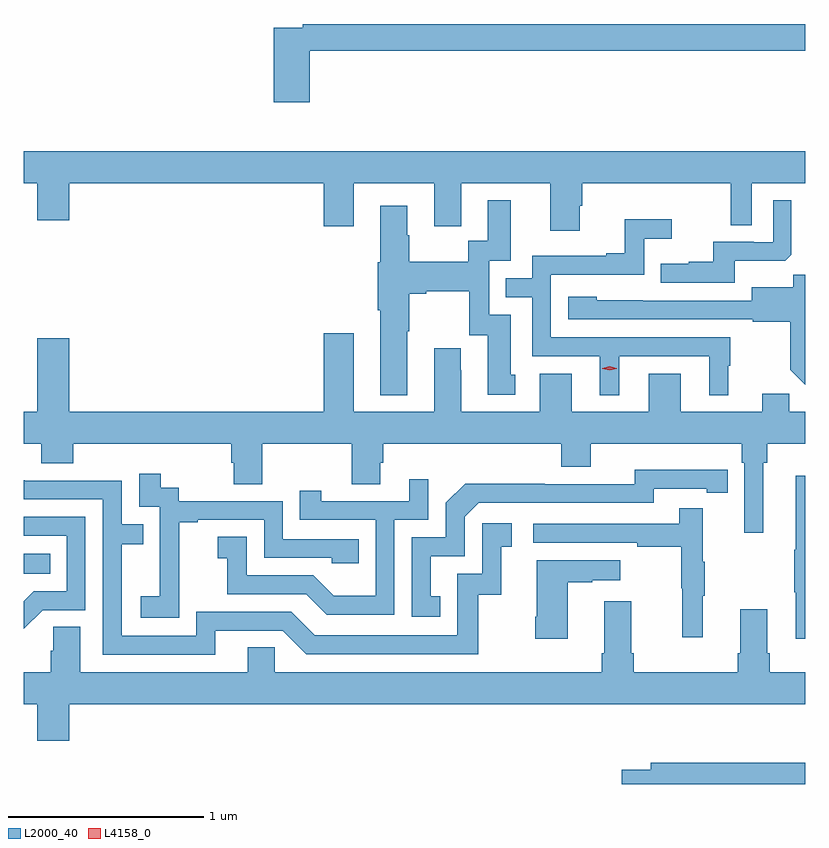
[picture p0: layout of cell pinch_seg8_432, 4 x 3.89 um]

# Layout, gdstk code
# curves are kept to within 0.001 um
import gdstk
lib = gdstk.Library(unit=1e-6, precision=1e-09)
def R(c, l, rs):  # rectangles x0, y0, x1, y1
    for r in rs: c.add(gdstk.rectangle(r[:2], r[2:], *l))
def P(c, l, *ps):  # polygons
    for p in ps: c.add(gdstk.Polygon(p, *l))
L2000_40 = (2000, 40)
L4158_0 = (4158, 0)

pinch_seg8_432 = lib.new_cell('pinch_seg8_432')
R(pinch_seg8_432, L2000_40, [(308.795,1129.154,308.93,1129.258)])
P(pinch_seg8_432, L2000_40, [(310.259,1131.832),(312.795,1131.832),(312.795,1131.968),(310.222,1131.968),(310.222,1131.948),(310.076,1131.948),(310.076,1131.567),(310.259,1131.567)],
  [(311.641,1131.039),(311.654,1131.039),(311.654,1131.152),(312.414,1131.152),(312.414,1130.938),(312.522,1130.938),(312.522,1131.152),(312.795,1131.152),(312.795,1131.316),(308.795,1131.316),(308.795,1131.152),(308.864,1131.152),(308.864,1130.964),(309.028,1130.964),(309.028,1131.152),(310.331,1131.152),(310.331,1130.934),(310.483,1130.934),(310.483,1131.152),(310.895,1131.152),(310.895,1130.934),(311.035,1130.934),(311.035,1131.152),(311.489,1131.152),(311.489,1130.91),(311.641,1130.91)],
  [(310.759,1130.395),(310.767,1130.395),(310.767,1130.588),(310.855,1130.588),(310.855,1130.6),(311.075,1130.6),(311.075,1130.376),(311.171,1130.376),(311.171,1130.07),(311.311,1130.07),(311.311,1130.172),(311.287,1130.172),(311.287,1130.481),(311.178,1130.481),(311.178,1130.757),(311.287,1130.757),(311.287,1131.067),(311.171,1131.067),(311.171,1130.858),(311.07,1130.858),(311.07,1130.752),(310.767,1130.752),(310.767,1130.886),(310.759,1130.886),(310.759,1131.037),(310.619,1131.037),(310.619,1130.748),(310.607,1130.748),(310.607,1130.504),(310.619,1130.504),(310.619,1130.069),(310.759,1130.069)],
  [(312.433,1130.756),(312.691,1130.756),(312.723,1130.787),(312.723,1131.067),(312.63,1131.067),(312.63,1130.85),(312.53,1130.85),(312.53,1130.853),(312.323,1130.853),(312.323,1130.752),(312.199,1130.752),(312.199,1130.74),(312.055,1130.74),(312.055,1130.643),(312.433,1130.643)],
  [(311.842,1130.268),(312.302,1130.268),(312.302,1130.069),(312.4,1130.069),(312.4,1130.22),(312.412,1130.22),(312.412,1130.364),(311.493,1130.364),(311.493,1130.685),(311.97,1130.685),(311.97,1130.87),(312.112,1130.87),(312.112,1130.969),(311.872,1130.969),(311.872,1130.794),(311.777,1130.794),(311.777,1130.781),(311.397,1130.781),(311.397,1130.667),(311.263,1130.667),(311.263,1130.571),(311.397,1130.571),(311.397,1130.268),(311.744,1130.268),(311.744,1130.069),(311.842,1130.069)],
  [(312.795,1130.684),(312.732,1130.684),(312.732,1130.62),(312.521,1130.62),(312.521,1130.553),(311.727,1130.554),(311.727,1130.572),(311.583,1130.572),(311.583,1130.457),(312.525,1130.457),(312.525,1130.445),(312.717,1130.445),(312.717,1130.199),(312.795,1130.121)],
  [(312.58,1129.724),(312.599,1129.724),(312.599,1129.82),(312.795,1129.82),(312.795,1129.984),(312.713,1129.984),(312.713,1130.075),(312.575,1130.075),(312.575,1129.984),(312.157,1129.984),(312.157,1130.179),(311.993,1130.179),(311.993,1129.984),(311.599,1129.984),(311.599,1130.179),(311.435,1130.179),(311.435,1129.984),(311.035,1129.984),(311.035,1130.195),(311.032,1130.195),(311.032,1130.308),(310.895,1130.308),(310.895,1129.984),(310.483,1129.984),(310.483,1130.386),(310.331,1130.386),(310.331,1129.984),(309.028,1129.984),(309.028,1130.359),(308.864,1130.359),(308.864,1129.984),(308.795,1129.984),(308.795,1129.82),(308.885,1129.82),(308.885,1129.721),(309.05,1129.721),(309.05,1129.82),(309.857,1129.82),(309.857,1129.722),(309.869,1129.722),(309.869,1129.612),(310.017,1129.612),(310.017,1129.82),(310.474,1129.82),(310.474,1129.612),(310.621,1129.612),(310.621,1129.722),(310.634,1129.722),(310.634,1129.82),(311.546,1129.82),(311.546,1129.703),(311.698,1129.703),(311.698,1129.82),(312.47,1129.82),(312.47,1129.724),(312.483,1129.724),(312.483,1129.365),(312.58,1129.365)],
  [(310.928,1129.041),(310.879,1129.041),(310.879,1129.245),(311.052,1129.245),(311.052,1129.446),(311.124,1129.518),(312.018,1129.518),(312.018,1129.59),(312.29,1129.59),(312.29,1129.57),(312.398,1129.57),(312.398,1129.686),(311.922,1129.687),(311.922,1129.614),(311.462,1129.614),(311.462,1129.616),(311.054,1129.616),(310.956,1129.518),(310.956,1129.341),(310.782,1129.341),(310.782,1128.936),(310.928,1128.936)],
  [(309.591,1129.135),(309.59,1129.135),(309.59,1129.419),(309.685,1129.419),(309.685,1129.431),(310.026,1129.431),(310.026,1129.236),(310.371,1129.236),(310.371,1129.209),(310.511,1129.209),(310.511,1129.332),(310.122,1129.332),(310.122,1129.527),(309.588,1129.527),(309.588,1129.596),(309.496,1129.596),(309.496,1129.666),(309.387,1129.666),(309.387,1129.497),(309.492,1129.497),(309.492,1129.268),(309.491,1129.268),(309.491,1129.039),(309.393,1129.039),(309.393,1128.929),(309.591,1128.929)],
  [(312.795,1129.657),(312.746,1129.657),(312.746,1129.277),(312.739,1129.277),(312.739,1129.06),(312.746,1129.06),(312.746,1128.822),(312.795,1128.822)],
  [(310.692,1129.431),(310.866,1129.431),(310.866,1129.639),(310.769,1129.639),(310.769,1129.527),(310.318,1129.527),(310.318,1129.579),(310.207,1129.579),(310.207,1129.431),(310.596,1129.431),(310.596,1129.042),(310.382,1129.042),(310.278,1129.146),(309.936,1129.146),(309.936,1129.345),(309.789,1129.345),(309.789,1129.235),(309.838,1129.235),(309.838,1129.05),(310.241,1129.05),(310.346,1128.945),(310.692,1128.945)],
  [(309.775,1128.864),(310.122,1128.864),(310.242,1128.744),(311.122,1128.744),(311.122,1129.047),(311.24,1129.047),(311.24,1129.293),(311.293,1129.293),(311.293,1129.414),(311.142,1129.414),(311.142,1129.155),(311.013,1129.155),(311.013,1128.84),(310.284,1128.84),(310.164,1128.96),(309.678,1128.96),(309.678,1128.837),(309.297,1128.837),(309.297,1129.306),(309.407,1129.306),(309.407,1129.407),(309.297,1129.407),(309.297,1129.632),(308.801,1129.632),(308.801,1129.634),(308.795,1129.634),(308.795,1129.536),(309.201,1129.536),(309.201,1128.741),(309.775,1128.741)],
  [(312.269,1129.043),(312.28,1129.043),(312.28,1129.217),(312.269,1129.217),(312.269,1129.489),(312.151,1129.489),(312.151,1129.41),(311.403,1129.41),(311.403,1129.314),(311.935,1129.314),(311.935,1129.294),(312.159,1129.294),(312.159,1129.08),(312.166,1129.08),(312.166,1128.831),(312.269,1128.831)],
  [(308.892,1128.969),(309.111,1128.969),(309.111,1129.446),(308.795,1129.446),(308.795,1129.35),(309.015,1129.35),(309.015,1129.065),(308.846,1129.065),(308.795,1129.014),(308.795,1128.873)],
  [(311.578,1129.111),(311.705,1129.111),(311.705,1129.121),(311.848,1129.121),(311.848,1129.225),(311.42,1129.225),(311.42,1128.934),(311.413,1128.934),(311.413,1128.822),(311.578,1128.822)],
  [(309.028,1128.488),(312.795,1128.488),(312.795,1128.652),(312.614,1128.652),(312.614,1128.748),(312.601,1128.748),(312.601,1128.973),(312.461,1128.973),(312.461,1128.748),(312.449,1128.748),(312.449,1128.652),(311.918,1128.652),(311.918,1128.748),(311.905,1128.748),(311.905,1129.015),(311.765,1129.015),(311.765,1128.748),(311.753,1128.748),(311.753,1128.652),(310.08,1128.652),(310.08,1128.779),(309.941,1128.779),(309.941,1128.652),(309.085,1128.652),(309.085,1128.884),(308.946,1128.884),(308.946,1128.761),(308.933,1128.761),(308.933,1128.652),(308.795,1128.652),(308.795,1128.488),(308.864,1128.488),(308.864,1128.3),(309.028,1128.3)],
  [(312.795,1128.187),(312.005,1128.187),(312.005,1128.153),(311.856,1128.153),(311.856,1128.079),(312.795,1128.079)])
P(pinch_seg8_432, L4158_0, [(311.793,1130.196),(311.757,1130.205),(311.757,1130.206),(311.757,1130.206),(311.793,1130.216),(311.829,1130.206),(311.829,1130.206),(311.829,1130.205)])

lib.write_gds('pinch_seg8_432.gds')
